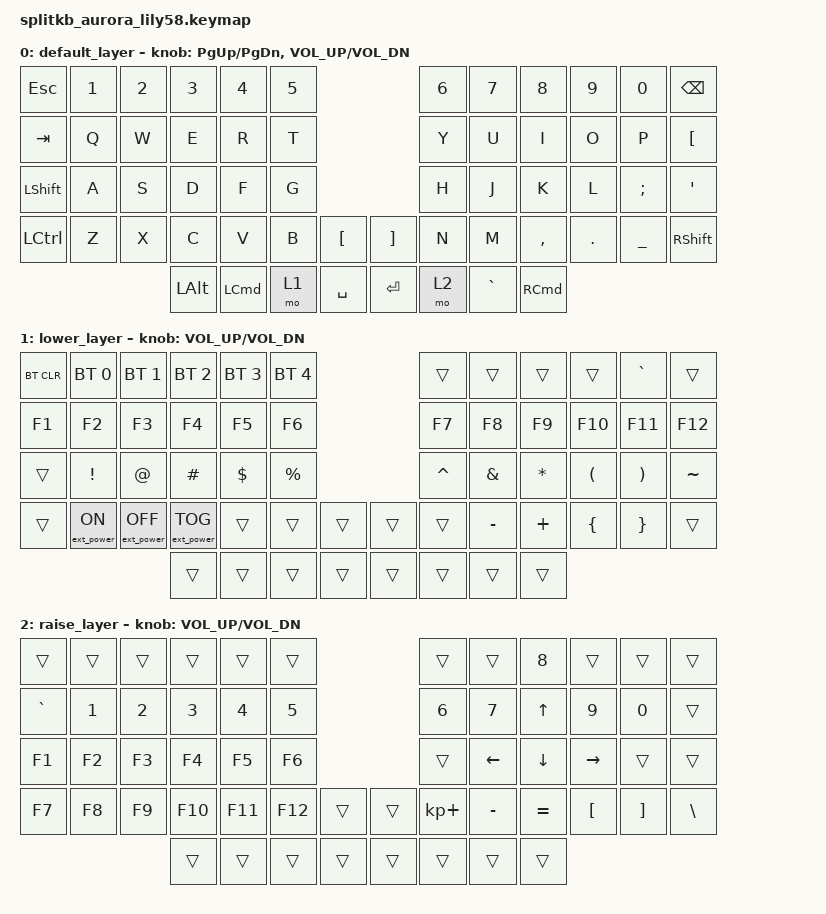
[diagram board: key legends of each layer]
/*
 * Copyright (c) 2022 The ZMK Contributors
 *
 * SPDX-License-Identifier: MIT
 */

#include "keys_ge.h"
#include <behaviors.dtsi>
#include <dt-bindings/zmk/bt.h>
#include <dt-bindings/zmk/ext_power.h>
#include <dt-bindings/zmk/keys.h>

/ {
    keymap {
        compatible = "zmk,keymap";

        default_layer {
            // ------------------------------------------------------------------------------------------------------------
            // |  ESC  |  1  |  2  |  3   |  4   |  5   |                   |  6   |  7    |  8    |  9   |   0   |   `   |
            // |  TAB  |  Q  |  W  |  E   |  R   |  T   |                   |  Y   |  U    |  I    |  O   |   P   |   -   |
            // |  CTRL |  A  |  S  |  D   |  F   |  G   |                   |  H   |  J    |  K    |  L   |   Ö   |   '   |
            // | SHIFT |  Z  |  X  |  C   |  V   |  B   |   "["  |  |  "]"  |  N   |  M    |  ,    |  .   |   /   | SHIFT |
            //                     | ALT  | GUI  | LOWER|  SPACE |  | ENTER | RAISE| BSPC  | GUI   |

            bindings = <
&kp ESC           &kp N1  &kp N2  &kp N3    &kp N4            &kp N5                         &kp N6  &kp N7     &kp N8             &kp N9   &kp N0     &kp BACKSPACE
&kp TAB           &kp Q   &kp W   &kp E     &kp R             &kp T                          &kp Y   &kp U      &kp I              &kp O    &kp P      &kp LEFT_BRACKET
&kp LEFT_SHIFT    &kp A   &kp S   &kp D     &kp F             &kp G                          &kp H   &kp J      &kp K              &kp L    &kp SEMI   &kp SQT
&kp LEFT_CONTROL  &kp Z   &kp X   &kp C     &kp V             &kp B   &kp LBKT     &kp RBKT  &kp N   &kp M      &kp COMMA          &kp DOT  &kp UNDER  &kp RSHFT
                                  &kp LALT  &kp LEFT_COMMAND  &mo 1   &kp SPACE    &kp RET   &mo 2   &kp GRAVE  &kp RIGHT_COMMAND
            >;

            sensor-bindings = <
                    &inc_dec_kp PG_UP PG_DN
                    &inc_dec_kp C_VOL_UP C_VOL_DN
            >;
        };

        lower_layer {
            // ------------------------------------------------------------------------------------------------------------
            // | BTCLR | BT1 | BT2 |  BT3 |  BT4 |  BT5 |                   |      |       |       |      |       |       |
            // |  F1   |  F2 |  F3 |  F4  |  F5  |  F6  |                   |  F7  |  F8   |  F9   |  F10 |  F11  |  F12  |
            // |   `   |  !  |  @  |  #   |  $   |  %   |                   |  ^   |  &    |  *    |  (   |   )   |   ~   |
            // |       |     |     |      |      |      |        |  |       |      |  _    |  +    |  {   |   }   |  "|"  |
            //                     |      |      |      |        |  |       |      |       |       |

            bindings = <
&bt BT_CLR  &bt BT_SEL 0      &bt BT_SEL 1       &bt BT_SEL 2       &bt BT_SEL 3  &bt BT_SEL 4                    &trans     &trans     &trans    &trans    &kp GRAVE  &trans
&kp F1      &kp F2            &kp F3             &kp F4             &kp F5        &kp F6                          &kp F7     &kp F8     &kp F9    &kp F10   &kp F11    &kp F12
&trans      &kp EXCL          &kp AT             &kp HASH           &kp DOLLAR    &kp PRCNT                       &kp CARET  &kp AMPS   &kp STAR  &kp LPAR  &kp RPAR   &kp TILDE
&trans      &ext_power EP_ON  &ext_power EP_OFF  &ext_power EP_TOG  &trans        &trans        &trans    &trans  &trans     &kp MINUS  &kp PLUS  &kp LBRC  &kp RBRC   &trans
                                                 &trans             &trans        &trans        &trans    &trans  &trans     &trans     &trans
            >;

            sensor-bindings = <&inc_dec_kp C_VOL_UP C_VOL_DN>;
        };

        raise_layer {
            // ------------------------------------------------------------------------------------------------------------
            // |       |     |     |      |      |      |                   |      |       |   8   |      |       |       |
            // |   `   |  1  |  2  |  3   |  4   |  5   |                   |  6   |   7   |   ^   |  9   |   0   |       |
            // |   F1  |  F2 |  F3 |  F4  |  F5  |  F6  |                   |      |   <-  |   v   |  ->  |       |       |
            // |   F7  |  F8 |  F9 |  F10 |  F11 |  F12 |        |  |       |  +   |   -   |   =   |  [   |   ]   |   \   |
            //                     |      |      |      |        |  |       |      |       |       |

            bindings = <
&trans     &trans  &trans  &trans   &trans   &trans                     &trans       &trans     &kp NUMBER_8  &trans           &trans    &trans
&kp GRAVE  &kp N1  &kp N2  &kp N3   &kp N4   &kp N5                     &kp N6       &kp N7     &kp UP        &kp N9           &kp N0    &trans
&kp F1     &kp F2  &kp F3  &kp F4   &kp F5   &kp F6                     &trans       &kp LEFT   &kp DOWN      &kp RIGHT_ARROW  &trans    &trans
&kp F7     &kp F8  &kp F9  &kp F10  &kp F11  &kp F12  &trans    &trans  &kp KP_PLUS  &kp MINUS  &kp EQUAL     &kp LBKT         &kp RBKT  &kp BSLH
                           &trans   &trans   &trans   &trans    &trans  &trans       &trans     &trans
            >;

            sensor-bindings = <&inc_dec_kp C_VOL_UP C_VOL_DN>;
        };
    };
};
